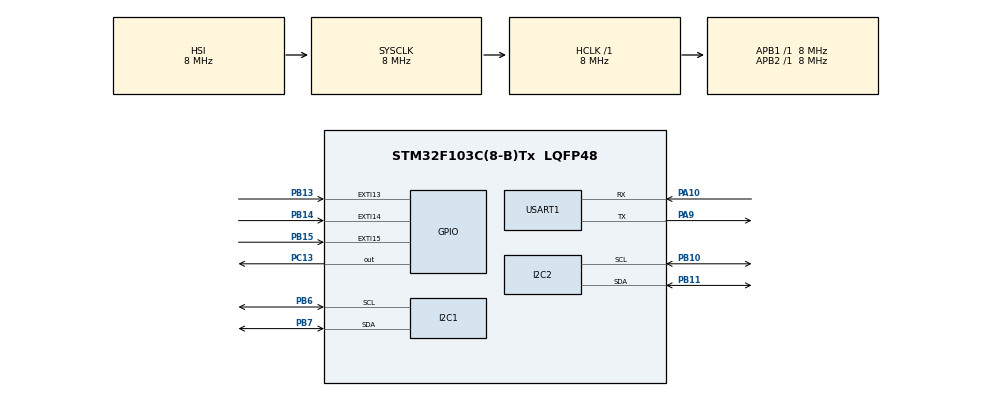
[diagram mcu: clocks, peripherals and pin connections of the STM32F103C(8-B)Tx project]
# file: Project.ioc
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Mcu.Family=STM32F1
Mcu.Name=STM32F103C(8-B)Tx
Mcu.Package=LQFP48
NVIC.EXTI15_10_IRQn=true\:0\:0\:false\:false\:true\:true\:true\:true
NVIC.PriorityGroup=NVIC_PRIORITYGROUP_4
NVIC.USART1_IRQn=true\:0\:0\:false\:false\:true\:true\:true\:true
PA10.Mode=Asynchronous
PA10.Signal=USART1_RX
PA9.Mode=Asynchronous
PA9.Signal=USART1_TX
PB10.Mode=I2C
PB10.Signal=I2C2_SCL
PB11.Mode=I2C
PB11.Signal=I2C2_SDA
PB13.GPIO_ModeDefaultEXTI=GPIO_MODE_IT_FALLING
PB13.GPIO_PuPd=GPIO_PULLUP
PB13.Signal=GPXTI13
PB14.GPIO_ModeDefaultEXTI=GPIO_MODE_IT_FALLING
PB14.GPIO_PuPd=GPIO_PULLUP
PB14.Signal=GPXTI14
PB15.GPIO_ModeDefaultEXTI=GPIO_MODE_IT_FALLING
PB15.GPIO_PuPd=GPIO_PULLUP
PB15.Signal=GPXTI15
PB6.Mode=I2C
PB6.Signal=I2C1_SCL
PB7.Mode=I2C
PB7.Signal=I2C1_SDA
PC13-TAMPER-RTC.Signal=GPIO_Output
ProjectManager.HeapSize=0x200
ProjectManager.StackSize=0x400
ProjectManager.TargetToolchain=STM32CubeIDE
RCC.AHBFreq_Value=8000000
RCC.APB1Freq_Value=8000000
RCC.APB1TimFreq_Value=8000000
RCC.APB2Freq_Value=8000000
RCC.APB2TimFreq_Value=8000000
RCC.HCLKFreq_Value=8000000
RCC.PLLMUL=RCC_PLL_MUL16
RCC.SYSCLKFreq_VALUE=8000000
RCC.USBFreq_Value=64000000
USART1.VirtualMode=VM_ASYNC
VP_SYS_VS_ND.Mode=No_Debug
board=custom

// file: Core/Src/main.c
/* USER CODE BEGIN Header */
/**
  ******************************************************************************
  * @file           : main.c
  * @brief          : Main program body
  ******************************************************************************
  * @attention
  *
  * Copyright (c) 2025 STMicroelectronics.
  * All rights reserved.
  *
  * This software is licensed under terms that can be found in the LICENSE file
  * in the root directory of this software component.
  * If no LICENSE file comes with this software, it is provided AS-IS.
  *
  ******************************************************************************
  */
/* USER CODE END Header */
#include "main.h"

/* USER CODE BEGIN Includes */
#include "ssd1306/ssd1306.h"
#include "ssd1306/ssd1306_fonts.h"

#include "ds3231.h"

#include <string.h>
#include <stdlib.h>
#include <stdio.h>
#include <stdint.h>
#include <stdbool.h>
/* USER CODE END Includes */

/* USER CODE BEGIN PTD */
typedef enum {
    MODE_DISPLAY,
    MODE_RESET,
    MODE_ALARM
}mode_t;

typedef enum{
  TIME_HOURS,
  TIME_MINUTES,
  TIME_SECONDS,
  TIME_DATE,
  TIME_MONTH,
  TIME_YEAR,
  TIME_WEEK,
  TIME_ON_OFF
} date_time_param_t

/* USER CODE END PTD */

I2C_HandleTypeDef hi2c1;
I2C_HandleTypeDef hi2c2;

UART_HandleTypeDef huart1;

/* USER CODE BEGIN PV */

char buff[20];
DS3231_Time dateTime, reset_time;

mode_t mode = TIME_DISPLAY;
date_time_param_t reset_params = TIME_HOURS;
bool turn_on = false;
bool print_flag = false;
/* USER CODE END PV */

void SystemClock_Config(void);
static void MX_GPIO_Init(void);
static void MX_I2C1_Init(void);
static void MX_USART1_UART_Init(void);
static void MX_I2C2_Init(void);
/* USER CODE BEGIN PFP */
int __io_putchar(int ch)
{
    HAL_UART_Transmit(&huart1, (uint8_t *)&ch, 1, HAL_MAX_DELAY);
    return ch;
}

char *get_week_str(uint8_t day_of_week)
{
  static char week_str[4] = {0};
  switch (day_of_week)
  {
  case 1:
    snprintf(week_str, sizeof(week_str), "Sun");
    break;

  case 2:
    snprintf(week_str, sizeof(week_str), "Mon");
    break;

  case 3:
    snprintf(week_str, sizeof(week_str), "Tue");
    break;

  case 4:
    snprintf(week_str, sizeof(week_str), "Wed");
    break;

  case 5:
    snprintf(week_str, sizeof(week_str), "Thru");
    break;

  case 6:
    snprintf(week_str, sizeof(week_str), "Fri");
    break;

  case 7:
    snprintf(week_str, sizeof(week_str), "Sat");
    break;

  default:
    return NULL;
  }
  return week_str;
}

void DisplayTime(DS3231_Time *dateTime)
{
  ssd1306_Fill(Black);

  /* ---- TIME ---- */
  ssd1306_SetCursor(0, 0);   // <<< IMPORTANT FIX
  memset(buff, 0, sizeof(buff));
  snprintf(buff, sizeof(buff), "%02d:%02d:%02d", dateTime->hours, dateTime->minutes, dateTime->seconds);
  ssd1306_WriteString(buff, Font_16x24, White);

  /* ---- WEEK ---- */
  ssd1306_SetCursor(12, 24);
  memset(buff, 0, sizeof(buff));
  snprintf(buff, sizeof(buff), "%s", get_week_str(dateTime->dayOfWeek));
  ssd1306_WriteString(buff, Font_6x8, White);

  /* ---- DATE ---- */
  ssd1306_SetCursor(54, 24);
  memset(buff, 0, sizeof(buff));
  snprintf(buff, sizeof(buff), "%02d-%02d-%04d", dateTime->day, dateTime->month, dateTime->year);
  ssd1306_WriteString(buff, Font_6x8, White);

  ssd1306_UpdateScreen();
}

/* USER CODE END PFP */

int main(void)
{

  /* MCU Configuration--------------------------------------------------------*/

  /* Reset of all peripherals, Initializes the Flash interface and the Systick. */
  HAL_Init();

  /* Configure the system clock */
  SystemClock_Config();

  /* Initialize all configured peripherals */
  MX_GPIO_Init();
  MX_I2C1_Init();
  MX_USART1_UART_Init();
  MX_I2C2_Init();
  /* USER CODE BEGIN 2 */
  DS3231_Init(&hi2c1);
  ssd1306_Init();
  /* USER CODE END 2 */

  /* Infinite loop */
  /* USER CODE BEGIN WHILE */
  while (1)
  {
	  if(mode == MODE_DISPLAY)
    {
      DS3231_GetTime(&dateTime);
      DisplayTime(&dateTime);
      HAL_Delay(990);
    }
    else if( mode == MODE_RESET)
    {
		if(print_flag){
			printf("changed to %d/%d/%d %d:%d:%d and %s", reset_time.day, reset_time.month, reset_time.year, reset_time.hours, reset_time.minutes, reset_time.seconds, get_week_str(reset_time.dayOfWeek));
			print_flag = false;
		}
    }
    else if(mode == MODE_ALARM)
    {
    }
    /* USER CODE END WHILE */

  }
}

void SystemClock_Config(void)
{
  RCC_OscInitTypeDef RCC_OscInitStruct = {0};
  RCC_ClkInitTypeDef RCC_ClkInitStruct = {0};

  /** Initializes the RCC Oscillators according to the specified parameters
  * in the RCC_OscInitTypeDef structure.
  */
  RCC_OscInitStruct.OscillatorType = RCC_OSCILLATORTYPE_HSI;
  RCC_OscInitStruct.HSIState = RCC_HSI_ON;
  RCC_OscInitStruct.HSICalibrationValue = RCC_HSICALIBRATION_DEFAULT;
  RCC_OscInitStruct.PLL.PLLState = RCC_PLL_NONE;
  if (HAL_RCC_OscConfig(&RCC_OscInitStruct) != HAL_OK)
  {
    Error_Handler();
  }

  /** Initializes the CPU, AHB and APB buses clocks
  */
  RCC_ClkInitStruct.ClockType = RCC_CLOCKTYPE_HCLK|RCC_CLOCKTYPE_SYSCLK
                              |RCC_CLOCKTYPE_PCLK1|RCC_CLOCKTYPE_PCLK2;
  RCC_ClkInitStruct.SYSCLKSource = RCC_SYSCLKSOURCE_HSI;
  RCC_ClkInitStruct.AHBCLKDivider = RCC_SYSCLK_DIV1;
  RCC_ClkInitStruct.APB1CLKDivider = RCC_HCLK_DIV1;
  RCC_ClkInitStruct.APB2CLKDivider = RCC_HCLK_DIV1;

  if (HAL_RCC_ClockConfig(&RCC_ClkInitStruct, FLASH_LATENCY_0) != HAL_OK)
  {
    Error_Handler();
  }
}

static void MX_I2C1_Init(void)
{

  hi2c1.Instance = I2C1;
  hi2c1.Init.ClockSpeed = 100000;
  hi2c1.Init.DutyCycle = I2C_DUTYCYCLE_2;
  hi2c1.Init.OwnAddress1 = 0;
  hi2c1.Init.AddressingMode = I2C_ADDRESSINGMODE_7BIT;
  hi2c1.Init.DualAddressMode = I2C_DUALADDRESS_DISABLE;
  hi2c1.Init.OwnAddress2 = 0;
  hi2c1.Init.GeneralCallMode = I2C_GENERALCALL_DISABLE;
  hi2c1.Init.NoStretchMode = I2C_NOSTRETCH_DISABLE;
  if (HAL_I2C_Init(&hi2c1) != HAL_OK)
  {
    Error_Handler();
  }

}

static void MX_I2C2_Init(void)
{

  hi2c2.Instance = I2C2;
  hi2c2.Init.ClockSpeed = 100000;
  hi2c2.Init.DutyCycle = I2C_DUTYCYCLE_2;
  hi2c2.Init.OwnAddress1 = 0;
  hi2c2.Init.AddressingMode = I2C_ADDRESSINGMODE_7BIT;
  hi2c2.Init.DualAddressMode = I2C_DUALADDRESS_DISABLE;
  hi2c2.Init.OwnAddress2 = 0;
  hi2c2.Init.GeneralCallMode = I2C_GENERALCALL_DISABLE;
  hi2c2.Init.NoStretchMode = I2C_NOSTRETCH_DISABLE;
  if (HAL_I2C_Init(&hi2c2) != HAL_OK)
  {
    Error_Handler();
  }

}

static void MX_USART1_UART_Init(void)
{

  huart1.Instance = USART1;
  huart1.Init.BaudRate = 115200;
  huart1.Init.WordLength = UART_WORDLENGTH_8B;
  huart1.Init.StopBits = UART_STOPBITS_1;
  huart1.Init.Parity = UART_PARITY_NONE;
  huart1.Init.Mode = UART_MODE_TX_RX;
  huart1.Init.HwFlowCtl = UART_HWCONTROL_NONE;
  huart1.Init.OverSampling = UART_OVERSAMPLING_16;
  if (HAL_UART_Init(&huart1) != HAL_OK)
  {
    Error_Handler();
  }

}

static void MX_GPIO_Init(void)
{
  GPIO_InitTypeDef GPIO_InitStruct = {0};

  /* GPIO Ports Clock Enable */
  __HAL_RCC_GPIOC_CLK_ENABLE();
  __HAL_RCC_GPIOB_CLK_ENABLE();
  __HAL_RCC_GPIOA_CLK_ENABLE();

  /*Configure GPIO pin Output Level */
  HAL_GPIO_WritePin(GPIOC, GPIO_PIN_13, GPIO_PIN_RESET);

  /*Configure GPIO pin : PC13 */
  GPIO_InitStruct.Pin = GPIO_PIN_13;
  GPIO_InitStruct.Mode = GPIO_MODE_OUTPUT_PP;
  GPIO_InitStruct.Pull = GPIO_NOPULL;
  GPIO_InitStruct.Speed = GPIO_SPEED_FREQ_LOW;
  HAL_GPIO_Init(GPIOC, &GPIO_InitStruct);

  /*Configure GPIO pins : PB13 PB14 PB15 */
  GPIO_InitStruct.Pin = GPIO_PIN_13|GPIO_PIN_14|GPIO_PIN_15;
  GPIO_InitStruct.Mode = GPIO_MODE_IT_FALLING;
  GPIO_InitStruct.Pull = GPIO_PULLUP;
  HAL_GPIO_Init(GPIOB, &GPIO_InitStruct);

  /* EXTI interrupt init*/
  HAL_NVIC_SetPriority(EXTI15_10_IRQn, 0, 0);
  HAL_NVIC_EnableIRQ(EXTI15_10_IRQn);

}

/* USER CODE BEGIN 4 */
void HAL_GPIO_EXTI_Callback(uint16_t GPIO_Pin)
{
	if(GPIO_Pin == GPIO_PIN_13)
	{
    	mode++;
		if(mode == MODE_RESET){
			DS3231_GetTime(&reset_time);
		}
		if(mode == MODE_ALARM){
			if(turn_on){
				DS3231_SetTime(&reset_time);
				turn_on = false;
			}

		}
    	if(mode > MODE_ALARM){
      		mode = MODE_DISPLAY;
		}
	}

	if(GPIO_Pin == GPIO_PIN_14)
	{
		switch (mode){
			case MODE_RESET:
				reset_params++
				if(reset_params == 8){
					reset_params = TIME_HOURS;
				}
				break;

			default:
				break;
    	}
	}

	if(GPIO_Pin == GPIO_PIN_15)
	{
      if(mode == MODE_RESET)
      {
        switch(reset_params){
        	case TIME_HOURS:
            	reset_time.hours++;
				if(reset_time.hours == 24) reset_time.hours=0;
				break;

			case TIME_MINUTES:
				reset_time.minutes++;
				if(reset_time.minutes == 60) reset_time.minutes=0;
				break;

			case TIME_SECONDS:
				reset_time.seconds++;
				if(reset_time.seconds == 60) reset_time.seconds=0;
				break;

			case TIME_DATE:
				reset_time.day++;
				if(reset_time.day == 32) reset_time.day=1;
				break;

			case TIME_MONTH:
				reset_time.month++;
				if(reset_time.month == 13) reset_time.month=1;
				break;

			case TIME_YEAR:
				reset_time.year++;
				break;

			case TIME_WEEK:
				reset_time.dayOfWeek++;
				if(reset_time.dayOfWeek == 8) reset_time.dayOfWeek=1;
				break;

			case TIME_ON_OFF:
				turn_on = !turn_on;
				break;
        }
      }
	}
}
/* USER CODE END 4 */

void Error_Handler(void)
{
  __disable_irq();
  while (1)
  {
  }
}
